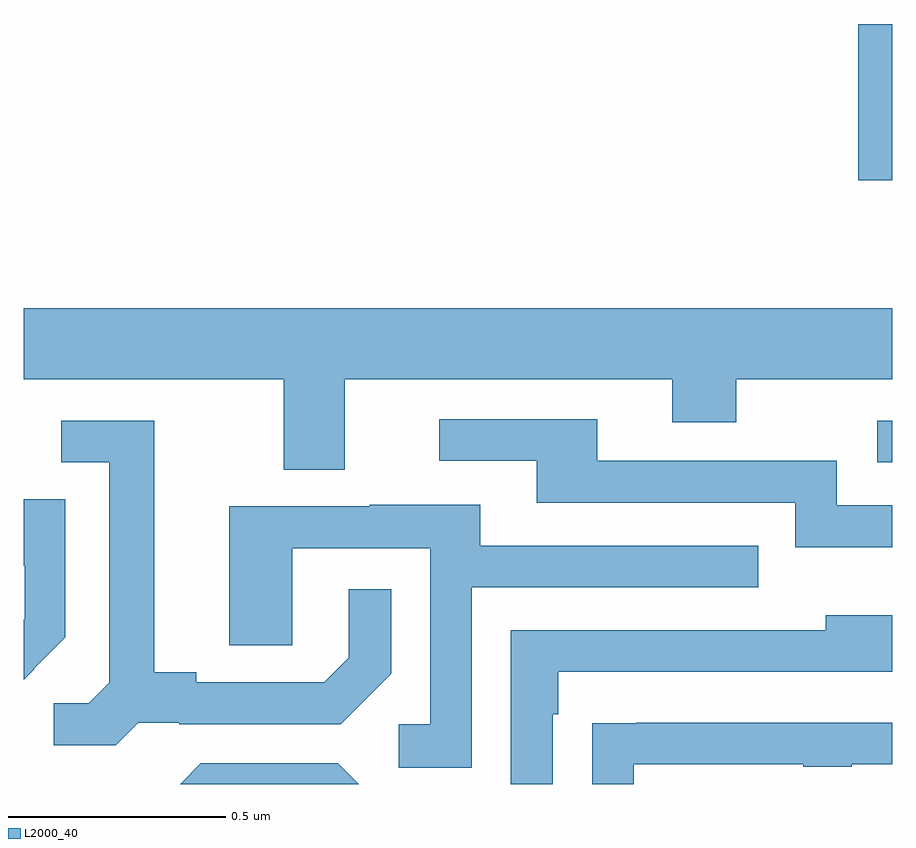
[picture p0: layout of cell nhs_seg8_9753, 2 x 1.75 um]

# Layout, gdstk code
import gdstk
lib = gdstk.Library(unit=1e-6, precision=1e-09)
def R(c, l, rs):  # rectangles x0, y0, x1, y1
    for r in rs: c.add(gdstk.rectangle(r[:2], r[2:], *l))
def P(c, l, *ps):  # polygons
    for p in ps: c.add(gdstk.Polygon(p, *l))
L2000_40 = (2000, 40)

nhs_seg8_9753 = lib.new_cell('nhs_seg8_9753')
R(nhs_seg8_9753, L2000_40, [(241.965,1117.641,242,1117.737), (241.922,1118.29,242,1118.65)])
P(nhs_seg8_9753, L2000_40, [(240.739,1117.832),(241.493,1117.832),(241.493,1117.733),(241.641,1117.733),(241.641,1117.832),(242,1117.832),(242,1117.996),(240,1117.996),(240,1117.832),(240.599,1117.832),(240.599,1117.624),(240.739,1117.624)],
  [(242,1117.542),(241.872,1117.542),(241.872,1117.644),(241.321,1117.644),(241.321,1117.74),(240.957,1117.74),(240.957,1117.644),(241.181,1117.644),(241.181,1117.548),(241.776,1117.548),(241.776,1117.445),(242,1117.445)],
  [(240.264,1117.041),(240.358,1117.041),(240.358,1117.038),(240.73,1117.038),(240.846,1117.154),(240.846,1117.348),(240.749,1117.348),(240.749,1117.191),(240.692,1117.134),(240.397,1117.134),(240.397,1117.157),(240.301,1117.157),(240.301,1117.737),(240.087,1117.737),(240.087,1117.641),(240.197,1117.641),(240.197,1117.133),(240.15,1117.086),(240.069,1117.086),(240.069,1116.989),(240.212,1116.989)],
  [(240.024,1117.164),(240.023,1117.165),(240.096,1117.238),(240.096,1117.556),(240,1117.556),(240,1117.402),(240.002,1117.402),(240.002,1117.28),(240,1117.278),(240,1117.14)],
  [(241.032,1117.353),(241.691,1117.353),(241.691,1117.449),(241.051,1117.449),(241.051,1117.543),(240.797,1117.543),(240.797,1117.539),(240.473,1117.539),(240.473,1117.219),(240.618,1117.219),(240.618,1117.443),(240.936,1117.443),(240.936,1117.038),(240.864,1117.038),(240.864,1116.937),(241.032,1116.937)],
  [(241.218,1117.061),(241.231,1117.061),(241.231,1117.158),(242,1117.158),(242,1117.288),(241.847,1117.288),(241.847,1117.254),(241.122,1117.254),(241.122,1116.9),(241.218,1116.9)],
  [(241.405,1116.945),(241.795,1116.945),(241.795,1116.94),(241.907,1116.94),(241.907,1116.945),(242,1116.945),(242,1117.041),(241.411,1117.041),(241.411,1117.04),(241.309,1117.04),(241.309,1116.9),(241.405,1116.9)],
  [(240.723,1116.948),(240.408,1116.948),(240.36,1116.9),(240.771,1116.9)])

lib.write_gds('nhs_seg8_9753.gds')
